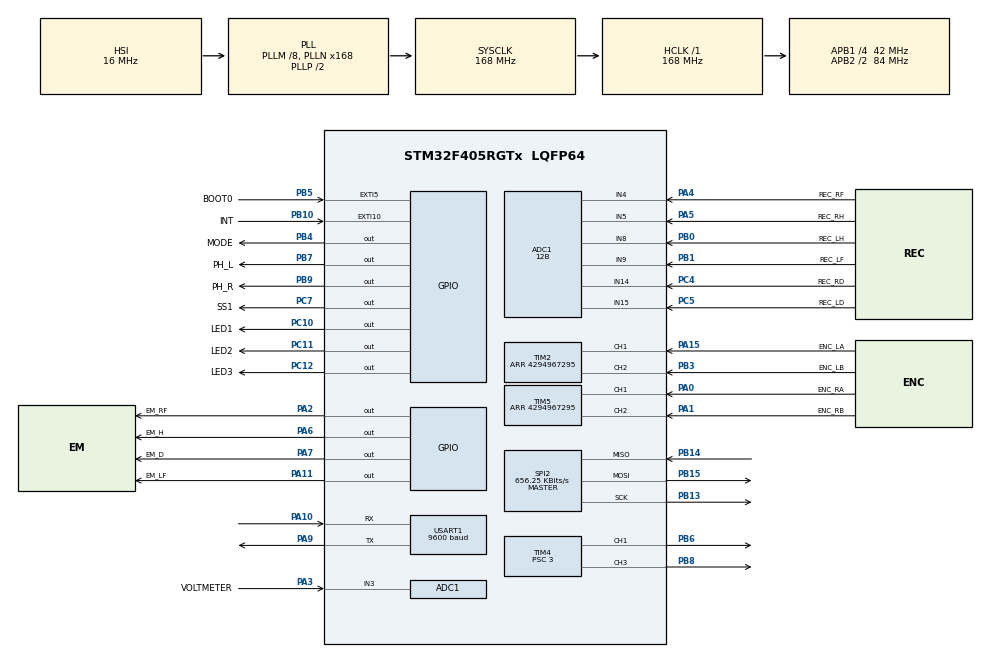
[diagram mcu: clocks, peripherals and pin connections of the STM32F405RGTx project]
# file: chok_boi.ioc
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ADC1.Channel-0\#ChannelRegularConversion=ADC_CHANNEL_3
ADC1.ClockPrescaler=ADC_CLOCK_SYNC_PCLK_DIV4
ADC1.ContinuousConvMode=DISABLE
ADC1.DMAContinuousRequests=DISABLE
ADC1.DataAlign=ADC_DATAALIGN_RIGHT
ADC1.DiscontinuousConvMode=DISABLE
ADC1.EOCSelection=ADC_EOC_SINGLE_CONV
ADC1.EnableAnalogWatchDog=false
ADC1.ExternalTrigConv=ADC_SOFTWARE_START
ADC1.ExternalTrigConvEdge=ADC_EXTERNALTRIGCONVEDGE_NONE
ADC1.InjNumberOfConversion=0
ADC1.NbrOfConversion=1
ADC1.NbrOfConversionFlag=1
ADC1.Rank-0\#ChannelRegularConversion=1
ADC1.Resolution=ADC_RESOLUTION_12B
ADC1.SamplingTime-0\#ChannelRegularConversion=ADC_SAMPLETIME_3CYCLES
ADC1.ScanConvMode=DISABLE
ADC1.master=1
Mcu.Family=STM32F4
Mcu.Name=STM32F405RGTx
Mcu.Package=LQFP64
NVIC.EXTI9_5_IRQn=true\:1\:0\:true\:false\:true\:true
NVIC.PriorityGroup=NVIC_PRIORITYGROUP_4
PA0-WKUP.GPIO_Label=ENC_RA
PA0-WKUP.Signal=S_TIM5_CH1
PA1.GPIO_Label=ENC_RB
PA1.Signal=S_TIM5_CH2
PA10.Mode=Asynchronous
PA10.Signal=USART1_RX
PA11.GPIO_Label=EM_LF
PA11.Signal=GPIO_Output
PA13.Mode=Serial_Wire
PA13.Signal=SYS_JTMS-SWDIO
PA14.Mode=Serial_Wire
PA14.Signal=SYS_JTCK-SWCLK
PA15.GPIO_Label=ENC_LA
PA15.Signal=S_TIM2_CH1_ETR
PA2.GPIO_Label=EM_RF
PA2.Signal=GPIO_Output
PA3.GPIO_Label=VOLTMETER
PA3.Signal=ADCx_IN3
PA4.GPIO_Label=REC_RF
PA4.Signal=ADCx_IN4
PA5.GPIO_Label=REC_RH
PA5.Signal=ADCx_IN5
PA6.GPIO_Label=EM_H
PA6.Signal=GPIO_Output
PA7.GPIO_Label=EM_D
PA7.Signal=GPIO_Output
PA9.Mode=Asynchronous
PA9.Signal=USART1_TX
PB0.GPIO_Label=REC_LH
PB0.Signal=ADCx_IN8
PB1.GPIO_Label=REC_LF
PB1.Signal=ADCx_IN9
PB10.GPIO_Label=INT
PB10.Signal=GPXTI10
PB13.Mode=Full_Duplex_Master
PB13.Signal=SPI2_SCK
PB14.Mode=Full_Duplex_Master
PB14.Signal=SPI2_MISO
PB15.Mode=Full_Duplex_Master
PB15.Signal=SPI2_MOSI
PB3.GPIO_Label=ENC_LB
PB3.Signal=S_TIM2_CH2
PB4.GPIO_Label=MODE
PB4.Signal=GPIO_Output
PB5.GPIO_Label=BOOT0
PB5.Signal=GPXTI5
PB6.Signal=S_TIM4_CH1
PB7.GPIO_Label=PH_L
PB7.Signal=GPIO_Output
PB8.Signal=S_TIM4_CH3
PB9.GPIO_Label=PH_R
PB9.Signal=GPIO_Output
PC10.GPIO_Label=LED1
PC10.Signal=GPIO_Output
PC11.GPIO_Label=LED2
PC11.Signal=GPIO_Output
PC12.GPIO_Label=LED3
PC12.Signal=GPIO_Output
PC4.GPIO_Label=REC_RD
PC4.Signal=ADCx_IN14
PC5.GPIO_Label=REC_LD
PC5.Signal=ADCx_IN15
PC7.GPIO_Label=SS1
PC7.PinState=GPIO_PIN_SET
PC7.Signal=GPIO_Output
ProjectManager.HeapSize=0x200
ProjectManager.StackSize=0x400
ProjectManager.TargetToolchain=Makefile
RCC.48MHZClocksFreq_Value=84000000
RCC.AHBFreq_Value=168000000
RCC.APB1CLKDivider=RCC_HCLK_DIV4
RCC.APB1Freq_Value=42000000
RCC.APB1TimFreq_Value=84000000
RCC.APB2CLKDivider=RCC_HCLK_DIV2
RCC.APB2Freq_Value=84000000
RCC.APB2TimFreq_Value=168000000
RCC.CortexFreq_Value=168000000
RCC.HCLKFreq_Value=168000000
RCC.HSE_VALUE=25000000
RCC.HSI_VALUE=16000000
RCC.LSE_VALUE=32768
RCC.PLLM=8
RCC.PLLN=168
RCC.SYSCLKFreq_VALUE=168000000
RCC.SYSCLKSource=RCC_SYSCLKSOURCE_PLLCLK
RCC.VCOOutputFreq_Value=336000000
SH.ADCx_IN14.0=ADC1_IN14,IN14
SH.ADCx_IN15.0=ADC1_IN15,IN15
SH.ADCx_IN3.0=ADC1_IN3,IN3
SH.ADCx_IN4.0=ADC1_IN4,IN4
SH.ADCx_IN5.0=ADC1_IN5,IN5
SH.ADCx_IN8.0=ADC1_IN8,IN8
SH.ADCx_IN9.0=ADC1_IN9,IN9
SH.S_TIM2_CH1_ETR.0=TIM2_CH1,Encoder_Interface
SH.S_TIM2_CH2.0=TIM2_CH2,Encoder_Interface
SH.S_TIM4_CH1.0=TIM4_CH1,PWM Generation1 CH1
SH.S_TIM4_CH3.0=TIM4_CH3,PWM Generation3 CH3
SH.S_TIM5_CH1.0=TIM5_CH1,Encoder_Interface
SH.S_TIM5_CH2.0=TIM5_CH2,Encoder_Interface
SPI2.BaudRatePrescaler=SPI_BAUDRATEPRESCALER_64
SPI2.CalculateBaudRate=656.25 KBits/s
SPI2.DataSize=SPI_DATASIZE_8BIT
SPI2.Direction=SPI_DIRECTION_2LINES
SPI2.Mode=SPI_MODE_MASTER
SPI2.VirtualType=VM_MASTER
TIM2.CounterMode=TIM_COUNTERMODE_UP
TIM2.EncoderMode=TIM_ENCODERMODE_TI12
TIM2.IC1Polarity=TIM_ICPOLARITY_RISING
TIM2.IC2Polarity=TIM_ICPOLARITY_FALLING
TIM2.Period=4294967295
TIM4.Channel-PWM\ Generation1\ CH1=TIM_CHANNEL_1
TIM4.Channel-PWM\ Generation3\ CH3=TIM_CHANNEL_3
TIM4.Period=999
TIM4.Prescaler=3
TIM5.EncoderMode=TIM_ENCODERMODE_TI12
TIM5.Period=4294967295
USART1.BaudRate=9600
USART1.VirtualMode=VM_ASYNC
board=chok_boi

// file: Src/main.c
/**
  ******************************************************************************
  * @file           : main.c
  * @brief          : Main program body
  ******************************************************************************
  ** This notice applies to any and all portions of this file
  * that are not between comment pairs USER CODE BEGIN and
  * USER CODE END. Other portions of this file, whether
  * inserted by the user or by software development tools
  * are owned by their respective copyright owners.
  *
  * COPYRIGHT(c) 2018 STMicroelectronics
  *
  * Redistribution and use in source and binary forms, with or without modification,
  * are permitted provided that the following conditions are met:
  *   1. Redistributions of source code must retain the above copyright notice,
  *      this list of conditions and the following disclaimer.
  *   2. Redistributions in binary form must reproduce the above copyright notice,
  *      this list of conditions and the following disclaimer in the documentation
  *      and/or other materials provided with the distribution.
  *   3. Neither the name of STMicroelectronics nor the names of its contributors
  *      may be used to endorse or promote products derived from this software
  *      without specific prior written permission.
  *
  * THIS SOFTWARE IS PROVIDED BY THE COPYRIGHT HOLDERS AND CONTRIBUTORS "AS IS"
  * AND ANY EXPRESS OR IMPLIED WARRANTIES, INCLUDING, BUT NOT LIMITED TO, THE
  * IMPLIED WARRANTIES OF MERCHANTABILITY AND FITNESS FOR A PARTICULAR PURPOSE ARE
  * DISCLAIMED. IN NO EVENT SHALL THE COPYRIGHT HOLDER OR CONTRIBUTORS BE LIABLE
  * FOR ANY DIRECT, INDIRECT, INCIDENTAL, SPECIAL, EXEMPLARY, OR CONSEQUENTIAL
  * DAMAGES (INCLUDING, BUT NOT LIMITED TO, PROCUREMENT OF SUBSTITUTE GOODS OR
  * SERVICES; LOSS OF USE, DATA, OR PROFITS; OR BUSINESS INTERRUPTION) HOWEVER
  * CAUSED AND ON ANY THEORY OF LIABILITY, WHETHER IN CONTRACT, STRICT LIABILITY,
  * OR TORT (INCLUDING NEGLIGENCE OR OTHERWISE) ARISING IN ANY WAY OUT OF THE USE
  * OF THIS SOFTWARE, EVEN IF ADVISED OF THE POSSIBILITY OF SUCH DAMAGE.
  *
  ******************************************************************************
  */
#include "main.h"
#include "stm32f4xx_hal.h"
#include "adc.h"
#include "spi.h"
#include "tim.h"
#include "usart.h"
#include "gpio.h"

/* USER CODE BEGIN Includes */
#include <limits.h>

#include "ir_sensor.h"
#include "encoder.h"
#include "controller.h"
#include "debug.h"
#include "motor.h"
#include "gyro.h"
#include "battery_checker.h"
#include "pathfinder.h"
#include "maze.h"
/* USER CODE END Includes */

/* USER CODE BEGIN PV */
/* Private variables ---------------------------------------------------------*/

static const unsigned int ENC_FLASH_RELOAD = 880UL;
static const unsigned int ENC_MODE_RELOAD = 3520UL;
static const unsigned int NUM_MODES = 8UL;
static const int REC_START = 3200;

static const float MOVE_AFTER_TURN = 0.52f;
static const float MOVE_AFTER_CURVE_TURN = 0.12f;

static const int LF_TURN = 800; // Threshold for starting curve turn
static const int RF_TURN = 800;
// OLD VALUES:
// static const int LF_TURN = 901; // Threshold for starting curve turn
// static const int RF_TURN = 1001;

static int curveTurnCounter = 0;

enum State
{
  IDLE,
  CHOOSING_FLASH, // User chooses an option for the mouse
  CHOOSING_MODE,  // User is currently choosing the mode for the mouse
  LOCKED,         // User locks in his mode choice (by pressing BOOT0 button)
  RUNNING,        // The mouse is running in one of the 8 operating modes
  CRASH
};

// Determines which mode the mouse operates in while in RUNNING State
static volatile uint32_t g_modeNum = 0;

// Determines what state the mouse is in
static volatile enum State g_state = IDLE;

// Read the flash that was written (previously stored maze runs)
static volatile uint32_t g_readWriteFlash = 0;

/* USER CODE END PV */

void SystemClock_Config(void);

/* USER CODE BEGIN PFP */
/* Private function prototypes -----------------------------------------------*/

void HAL_SYSTICK_Callback(void);
void HAL_GPIO_EXTI_Callback(uint16_t GPIO_Pin);
static void chooseMode(void);

/* USER CODE END PFP */

/* USER CODE BEGIN 0 */

// This is the 1ms systick interrupt.
void HAL_SYSTICK_Callback(void)
{
  // User has locked in mode choice. Block front sensors to start running.
  if (g_state == LOCKED)
  {
    readReceivers();
    if (getRecLF() > REC_START && getRecRF() > REC_START)
    {
      g_state = IDLE;
    }
  }
  else if (g_state == RUNNING) // Systick part of mode operation
  {
    switch (g_modeNum)
    {
      // Case 0 is meant to print out values, the other cases will actually move the mouse
      // due to the call to speedProfile()
    case 0:
      readReceivers();
      updateGyroAngle();
      break;
    case 1:
    case 2:
    case 3:
    case 4:
    case 5:
    case 6:
    case 7:
      readReceivers();
      updateGyroAngle();
      speedProfile();
      break;
    }
  }
}

// This function gets called when the BOOT0 button is pressed
// or when the INT signal from the gyro is received.
void HAL_GPIO_EXTI_Callback(uint16_t GPIO_Pin)
{
  switch (GPIO_Pin)
  {
  case BOOT0_Pin:
    switch (g_state)
    {
    case CHOOSING_FLASH:
      g_state = IDLE;
      break;
    case CHOOSING_MODE:
      g_state = LOCKED;
      break;
    case LOCKED:
      // g_state = CHOOSING_MODE;
      // break;
    case RUNNING:
      g_state = CRASH;
      break;
    case IDLE:
    case CRASH:
      break;
    }
    break;
    /* case INT_Pin: */
    /*   break; */
  }
}

// Rotate the left wheel to select among 2 modes. Binary 1 indicates
// choice to read maze from flash.
static inline void chooseFlash(void)
{
  g_readWriteFlash = getLeftEnc() / (ENC_FLASH_RELOAD / 2UL);
  if (g_readWriteFlash & 1)
    set(LED3);
  else
    reset(LED3);
}

// Rotate the left wheel to select among the 8 modes. The LEDs will light
// up to correspond to the mode number. An unlit LED represents a binary 0
// while a lit LED represents a binary 1. The value is read left to right.
static inline void chooseMode(void)
{
  g_modeNum = getLeftEnc() / (ENC_MODE_RELOAD / NUM_MODES);
  if (g_modeNum & 1)
    set(LED3);
  else
    reset(LED3);
  if (g_modeNum & 2)
    set(LED2);
  else
    reset(LED2);
  if (g_modeNum & 4)
    set(LED1);
  else
    reset(LED1);
}

static inline void searchMaze(int doCurveTurn, int doExtraAdjust, int useGyro)
{
  MouseMovement nextMove = getNextMovement();

  // if (getMouseX() == 3 && getMouseY() == 2)
  //   toggle(LED2);
  // print("MouseX: %hu, MouseY: %hu \r\n", getMouseX(), getMouseY());
  switch (nextMove)
  {
  case MoveForward:
    moveForward(1.0f);
    break;
  case TurnClockwise:
    if (doCurveTurn && curveTurnCounter <= 3)
    {
      curveTurnCounter++;
      if (frontWallDetected())
      {
        toggle(LED2);
        while (getRecLF() < LF_TURN && getRecRF() < RF_TURN)
        {
        }
        // ;
      }
      else
      {
        toggle(LED1);
        // moveForward(0.19f);
        moveForward(0.20f);
      }
      turn(RightTurn, CurveTurn, useGyro);
      moveForward(MOVE_AFTER_CURVE_TURN);
      // moveForward(0.12f);
    }
    else
    {
      curveTurnCounter = 0;
      stopAtCellCenter();
      if (frontWallDetected())
      {
        adjust();
      }

      if (!doExtraAdjust)
      {
        turn(RightTurn, InPlaceTurn, useGyro);
      }
      else
      {
        if (leftWallDetected())
        {
          turn(LeftTurn, InPlaceTurn, useGyro);
          adjust();
          turnAround();
        }
        else
        {

          turn(RightTurn, InPlaceTurn, useGyro);
        }
      }

      // moveForward(0.51f);
      // moveForward(0.52f);
      moveForward(MOVE_AFTER_TURN);
    }
    break;
  case TurnCounterClockwise:
    if (doCurveTurn && curveTurnCounter <= 3)
    {
      curveTurnCounter++;
      if (frontWallDetected())
      {
        while (getRecLF() < LF_TURN && getRecRF() < RF_TURN)
        {
        }
        // ;
      }
      else
      {
        // moveForward(0.19f);
        moveForward(0.20f);
      }

      turn(LeftTurn, CurveTurn, useGyro);
      moveForward(MOVE_AFTER_CURVE_TURN);
      // moveForward(0.12f);
    }
    else
    {
      curveTurnCounter = 0;
      stopAtCellCenter();
      if (frontWallDetected())
      {
        adjust();
      }

      if (!doExtraAdjust)
      {

        turn(LeftTurn, InPlaceTurn, useGyro);
      }
      else
      {
        if (rightWallDetected())
        {

          turn(RightTurn, InPlaceTurn, useGyro);

          adjust();
          turnAround();
        }
        else
        {

          turn(LeftTurn, InPlaceTurn, useGyro);
        }
      }

      // moveForward(0.51f);
      // moveForward(0.52f);
      moveForward(MOVE_AFTER_TURN);
    }
    break;
  case TurnAround:
    stopAtCellCenter();
    if (frontWallDetected())
    {
      adjust();
    }
    if (rightWallDetected())
    {

      turn(RightTurn, InPlaceTurn, useGyro);

      adjust();

      turn(RightTurn, InPlaceTurn, useGyro);
    }
    else if (leftWallDetected())
    {

      turn(LeftTurn, InPlaceTurn, useGyro);

      adjust();

      turn(LeftTurn, InPlaceTurn, useGyro);
    }
    else
    {

      turnAround();
    }
    // moveForward(0.52f);
    // moveForward(0.51f);
    moveForward(MOVE_AFTER_TURN);
    break;
  case Wait:
    break;
  case Finish:
    stopAtCellCenter();
    g_state = IDLE;
    break;
  }
}

/* USER CODE END 0 */

int main(void)
{

  /* MCU Configuration----------------------------------------------------------*/

  /* Reset of all peripherals, Initializes the Flash interface and the Systick. */
  HAL_Init();

  /* Configure the system clock */
  SystemClock_Config();

  /* Initialize all configured peripherals */
  MX_GPIO_Init();
  MX_ADC1_Init();
  MX_SPI2_Init();
  MX_TIM2_Init();
  MX_TIM4_Init();
  MX_TIM5_Init();
  MX_USART1_UART_Init();
  /* USER CODE BEGIN 2 */

  gyroSPIInit();
  HAL_Delay(1000);
  setGyroScale();
  HAL_Delay(1000);
  calibrateGyro();
  HAL_Delay(1000);

  HAL_TIM_Encoder_Start(&htim2, TIM_CHANNEL_ALL);
  HAL_TIM_Encoder_Start(&htim5, TIM_CHANNEL_ALL);

  // This loop is for the initial test to make sure all the sensors have
  // proper readings. Comment out or remove after verification.
  /* while (1) */
  /* { */
  /*   printSensorValues(); */
  /*   print("%d\r\n", getVoltage()); */
  /*   HAL_Delay(100); */
  /* } */

  // initializeMaze();
  // printMaze();
  // saveMazeInFlash();
  // HAL_Delay(1000);
  // readMazeFromFlash();
  // printMaze();
  // while (1) {
  //   // print("stuck in while loop\r\n");
  // }

  int firstTime = 1;
  set(MODE); // This MODE is the motor driver input
  HAL_TIM_PWM_Start(&htim4, TIM_CHANNEL_1);
  HAL_TIM_PWM_Start(&htim4, TIM_CHANNEL_3);

  while (1)
  {
    __HAL_TIM_SET_AUTORELOAD(&htim2, ENC_FLASH_RELOAD - 1UL);
    resetLeftEnc();
    resetRightEnc();
    g_state = CHOOSING_FLASH;
    // Turn left wheel to choose whether to read the maze currently saved
    // in flash memory. Binary 1 indicates read maze from flash.
    // Press BOOT0 button to lock in choice.
    while (g_state == CHOOSING_FLASH) // Exit this loop by pressing BOOT0 button.
      chooseFlash();

    if (g_readWriteFlash)
      readMazeFromFlash();

    HAL_Delay(500);

    // Change the encoder autoreload value to wrap back to 0 when it reaches
    // 3520. This is done for mode selection.
    __HAL_TIM_SET_AUTORELOAD(&htim2, ENC_MODE_RELOAD - 1UL);
    resetLeftEnc();
    resetRightEnc();

    // Use the left wheel to select a mode.
    // Turn left wheel to choose the mode. Press BOOT0 button to lock in choice.
    g_state = CHOOSING_MODE;
    while (g_state == CHOOSING_MODE) // Exit this loop by pressing BOOT0 button.
      chooseMode();

    while (g_state == LOCKED)
      ; // Block the front IR sensors to exit this loop.

    // Reaching here means we blocked the IR sensors. Prepare for running or
    // debugging by setting up the motor driver and encoder.
    int i = 0;
    float gyro_val = 0;
    uint8_t who_am_i_reg = 0;
    // All LEDs will blink 3 times to indicate that the mouse will start running.
    while (i < 6)
    {
      toggle(LED1);
      toggle(LED2);
      toggle(LED3);
      i++;
      HAL_Delay(500);
    }
    reset(LED1);
    reset(LED2);
    reset(LED3);
    __HAL_TIM_SET_AUTORELOAD(&htim2, ULONG_MAX);
    if (firstTime)
    {
      if (!g_readWriteFlash)
        initializeMaze();
      else
        initializePathFinder();
      firstTime = 0;
    }
    resetMousePosition();
    setFirstCell();
    resetLeftEnc();
    resetRightEnc();
    HAL_Delay(2);
    readReceivers();
    HAL_Delay(2);
    g_state = RUNNING;
    HAL_Delay(1);

    /* USER CODE END 2 */

    /* Infinite loop */
    /* USER CODE BEGIN WHILE */
    while (g_state == RUNNING)
    {
      /* USER CODE END WHILE */

      /* USER CODE BEGIN 3 */

      switch (g_modeNum)
      {
      case 0: // Read and print IR sensor values
        printSensorValues();
        // printAngleValues();
        break;
      case 1:
        // debugSpeedProfile();
        // moveForward(1.0);
        // stop();
        // turnAround();
        // HAL_Delay(1000);
        // moveForward(1.0);
        // HAL_Delay(100);
        // moveForward(1.0);
        // HAL_Delay(100);
        // g_state = IDLE;

        // for (int i = 0; i < 15; i++)
        // {
        //   gyro_val += readGyro();
        //   // HAL_Delay(40);
        // }

        // // who_am_i_reg = who_am_i();
        // gyro_val /= 15;
        // print("Gyro val: %d   \r\n", (int)gyro_val);
        // who_am_i();
        // HAL_Delay(100);
        // calibrateGyro();
        // HAL_Delay(100);
        // printGyroValues();
        // HAL_Delay(100);
        // turn(RightTurn, InPlaceTurn, 0);
        // HAL_Delay(100);
        // printGyroValues();
        // HAL_Delay(1000);

        // testAdjust();
        turn(RightTurn, InPlaceTurn, 1);
        HAL_Delay(730);
        break;
      case 2: // Test Turning
        turn(LeftTurn, InPlaceTurn, 1);
        HAL_Delay(730);

        // searchMaze(1, 0, 0);
        break;
      case 3:
        //   moveUntilWall();
        //   moveForward(0.55);
        //   stop();
        //   adjust();
        // turnAround();
        // HAL_Delay(730);
        searchMaze(1, 0, 0);
        break;
      case 4:
        // Run the maze with curve turns and extra adjusts
        // searchMaze(1, 1);

        // Run the maze with in place turns, no adjust, no gyro
        searchMaze(0, 0, 0);
        break;
      case 5:
        // Run the maze with curve turns but without extra adjusts
        // searchMaze(1, 0);

        // Run the maze with in place turns, no adjust, use gyro
        searchMaze(0, 0, 1);
        break;
      case 6:
        // Run the maze with in place turns and without extra adjusts
        //   searchMaze(0, 0);

        // Run the maze with in place turns, adjust, no gyro
        searchMaze(0, 1, 0);
        break;
      case 7:
        // Run the maze with in place turns and extra adjusts
        // searchMaze(0, 1);

        // Run the maze with in place turns, adjust, and gyro
        searchMaze(0, 1, 1);
        break;
      }
    }
    resetSpeedProfile();
    // Right now there is no check for whether the mouse has crashed,
    // so the maze will always be saved in flash after the mouse thinks
    // it has reached back to the start.
    if (g_state != CRASH)
    {
      saveMazeInFlash();
      HAL_Delay(100);
    }
  }

  // Reaching this point means we are done with the main routine. Proceed to
  // enter a low power state.
  while (1)
  {
    resetSpeedProfile();
    HAL_PWR_EnterSTANDBYMode();
  }
  /* USER CODE END 3 */
}

void SystemClock_Config(void)
{

  RCC_OscInitTypeDef RCC_OscInitStruct;
  RCC_ClkInitTypeDef RCC_ClkInitStruct;

  /**Configure the main internal regulator output voltage
    */
  __HAL_RCC_PWR_CLK_ENABLE();

  __HAL_PWR_VOLTAGESCALING_CONFIG(PWR_REGULATOR_VOLTAGE_SCALE1);

  /**Initializes the CPU, AHB and APB busses clocks
    */
  RCC_OscInitStruct.OscillatorType = RCC_OSCILLATORTYPE_HSI;
  RCC_OscInitStruct.HSIState = RCC_HSI_ON;
  RCC_OscInitStruct.HSICalibrationValue = 16;
  RCC_OscInitStruct.PLL.PLLState = RCC_PLL_ON;
  RCC_OscInitStruct.PLL.PLLSource = RCC_PLLSOURCE_HSI;
  RCC_OscInitStruct.PLL.PLLM = 8;
  RCC_OscInitStruct.PLL.PLLN = 168;
  RCC_OscInitStruct.PLL.PLLP = RCC_PLLP_DIV2;
  RCC_OscInitStruct.PLL.PLLQ = 4;
  if (HAL_RCC_OscConfig(&RCC_OscInitStruct) != HAL_OK)
  {
    _Error_Handler(__FILE__, __LINE__);
  }

  /**Initializes the CPU, AHB and APB busses clocks
    */
  RCC_ClkInitStruct.ClockType = RCC_CLOCKTYPE_HCLK | RCC_CLOCKTYPE_SYSCLK | RCC_CLOCKTYPE_PCLK1 | RCC_CLOCKTYPE_PCLK2;
  RCC_ClkInitStruct.SYSCLKSource = RCC_SYSCLKSOURCE_PLLCLK;
  RCC_ClkInitStruct.AHBCLKDivider = RCC_SYSCLK_DIV1;
  RCC_ClkInitStruct.APB1CLKDivider = RCC_HCLK_DIV4;
  RCC_ClkInitStruct.APB2CLKDivider = RCC_HCLK_DIV2;

  if (HAL_RCC_ClockConfig(&RCC_ClkInitStruct, FLASH_LATENCY_5) != HAL_OK)
  {
    _Error_Handler(__FILE__, __LINE__);
  }

  /**Configure the Systick interrupt time
    */
  HAL_SYSTICK_Config(HAL_RCC_GetHCLKFreq() / 1000);

  /**Configure the Systick
    */
  HAL_SYSTICK_CLKSourceConfig(SYSTICK_CLKSOURCE_HCLK);

  /* SysTick_IRQn interrupt configuration */
  HAL_NVIC_SetPriority(SysTick_IRQn, 0, 0);
}

void _Error_Handler(char *file, int line)
{
  /* USER CODE BEGIN Error_Handler_Debug */
  /* User can add his own implementation to report the HAL error return state */
  g_state = IDLE;
  resetSpeedProfile();
  print("%s: line %d\r\n", file, line);
  while (1)
  {
    toggle(LED1);
    HAL_Delay(1000);
  }
  /* USER CODE END Error_Handler_Debug */
}

/************************ (C) COPYRIGHT STMicroelectronics *****END OF FILE****/
